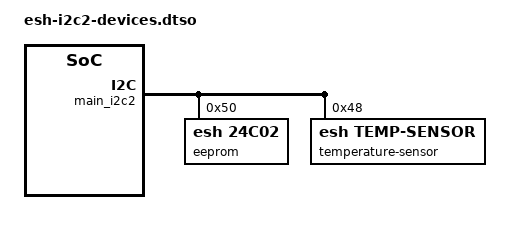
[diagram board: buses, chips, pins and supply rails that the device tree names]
// SPDX-License-Identifier: GPL-2.0-only OR MIT
/*
 * esh-i2c2-devices.dtso — BeagleBone AI-64 overlay: two I2C client devices on
 *                         the header bus main_i2c2 (P9.19 = SCL, P9.20 = SDA)
 *
 * Concept : An I2C device is a CHILD node of the controller node it hangs
 *           off; "reg" is its 7-bit address. The controller (&main_i2c2,
 *           i2c@2020000, omap-i2c driver) is already enabled and pin-muxed
 *           by the board DTS (k3-j721e-beagleboneai64.dts: main_i2c2_pins_default,
 *           100 kHz, alias i2c2 -> /dev/i2c-2), so this overlay only ADDS
 *           children. When the overlay is applied, the i2c core creates an
 *           i2c_client per child and matches "compatible" against the
 *           drivers' of_match_table.
 * Build   : dtc -@ -I dts -O dtb -o esh-i2c2-devices.dtbo esh-i2c2-devices.dtso
 *           (no #includes here, so plain dtc is enough)
 * Use     : copy the .dtbo to /boot/firmware/overlays/ (or wherever your
 *           extlinux.conf points) and add it to the "fdtoverlays" line;
 *           reboot; ls /sys/bus/i2c/devices/2-0050 2-0048
 * Read    : ../../README.md  (section 3.6 "Device tree for I2C and SPI devices")
 *           ../../../06-device-model-and-device-tree/ for overlays in general
 *
 * Hardware: 3.3 V logic only. Most breakout boards carry their own 4.7 kOhm
 *           pull-ups; the SoC's internal pull-up (PIN_INPUT_PULLUP in the
 *           board's pinmux) is far too weak (tens of kOhm) for a real bus.
 *           Do NOT use 0x50 on wkup_i2c0: that bus holds the board-ID
 *           EEPROM (atmel,24c04) and is not on the header anyway.
 */

/dts-v1/;
/plugin/;

&main_i2c2 {
	#address-cells = <1>;
	#size-cells = <0>;

	/* 24C02-style EEPROM, driver: kernel/esh_eeprom.c */
	eeprom@50 {
		compatible = "esh,24c02";
		reg = <0x50>;
		/* read-only;   uncomment to make the nvmem file read-only */
	};

	/* fictional regmap sensor, driver: kernel/esh_sensor.c */
	temperature-sensor@48 {
		compatible = "esh,temp-sensor";
		reg = <0x48>;
	};
};
